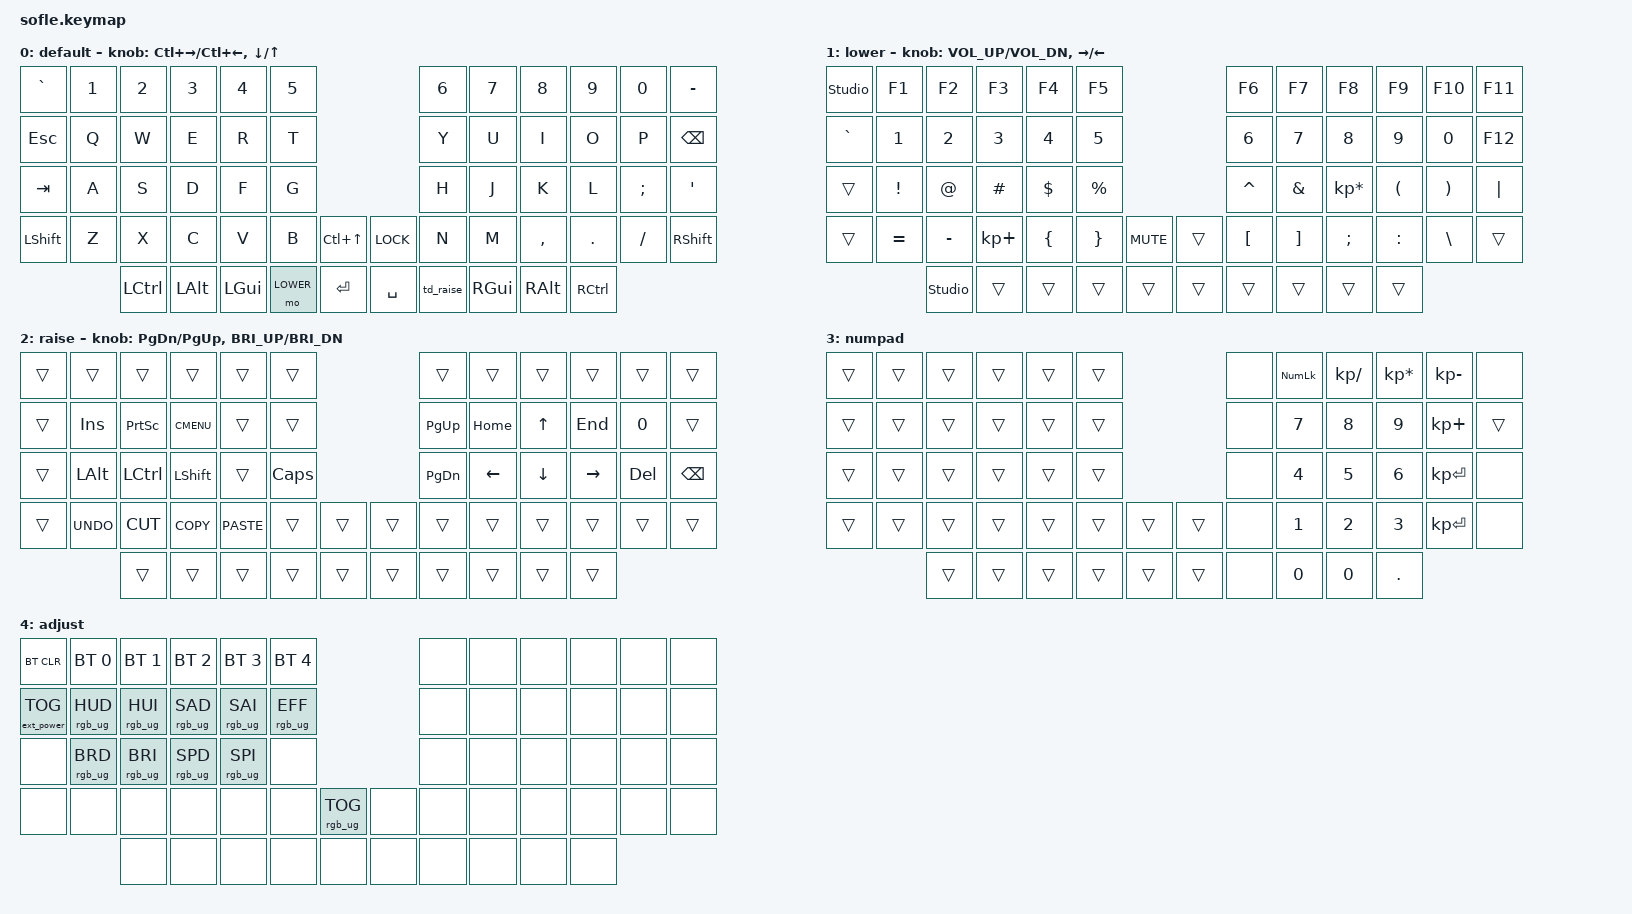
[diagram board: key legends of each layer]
/*
 * Copyright (c) 2020 The ZMK Contributors
 *
 * SPDX-License-Identifier: MIT
 */

#include <behaviors.dtsi>
#include <dt-bindings/zmk/bt.h>
#include <dt-bindings/zmk/ext_power.h>
#include <dt-bindings/zmk/keys.h>
#include <dt-bindings/zmk/rgb.h>

#define BASE 0
#define LOWER 1
#define RAISE 2
#define NUMPADL 3
#define ADJUST 4

/ {
    // Activate ADJUST layer by pressing raise and lower

    conditional_layers {
        compatible = "zmk,conditional-layers";

        adjust_layer {
            if-layers = <LOWER RAISE>;
            then-layer = <ADJUST>;
        };
    };
    
    behaviors {
        td_raise: tap_dance_raise {
            compatible = "zmk,behavior-tap-dance";
            #binding-cells = <0>;
            tapping-term-ms = <200>;
            bindings = <&mo RAISE>, <&mo NUMPADL>;
        };
    };

    keymap {
        compatible = "zmk,keymap";

        default_layer {
            label = "default";

            bindings = <
&kp GRAVE  &kp N1  &kp N2    &kp N3    &kp N4     &kp N5                              &kp N6     &kp N7     &kp N8     &kp N9    &kp N0    &kp MINUS
&kp ESC    &kp Q   &kp W     &kp E     &kp R      &kp T                               &kp Y      &kp U      &kp I      &kp O     &kp P     &kp BSPC
&kp TAB    &kp A   &kp S     &kp D     &kp F      &kp G                               &kp H      &kp J      &kp K      &kp L     &kp SEMI  &kp SQT
&kp LSHFT  &kp Z   &kp X     &kp C     &kp V      &kp B      &kp LC(UP)    &kp K_LOCK &kp N      &kp M      &kp COMMA  &kp DOT   &kp FSLH  &kp RSHFT
                   &kp LCTRL &kp LALT  &kp LGUI   &mo LOWER  &kp RET       &kp SPACE  &td_raise  &kp RGUI   &kp RALT   &kp RCTRL
            >;

            sensor-bindings = <&inc_dec_kp LC(RIGHT) LC(LEFT) &inc_dec_kp DOWN UP>;
        };

        lower_layer {
            label = "lower";

            bindings = <
&studio_unlock     &kp F1     &kp F2     &kp F3       &kp F4    &kp F5                       &kp F6     &kp F7    &kp F8           &kp F9     &kp F10   &kp F11
&kp GRAVE  &kp N1     &kp N2     &kp N3       &kp N4    &kp N5                       &kp N6     &kp N7    &kp N8           &kp N9     &kp N0    &kp F12
&trans     &kp EXCL   &kp AT     &kp HASH     &kp DLLR  &kp PRCNT                    &kp CARET  &kp AMPS  &kp KP_MULTIPLY  &kp LPAR   &kp RPAR  &kp PIPE
&trans     &kp EQUAL  &kp MINUS  &kp KP_PLUS  &kp LBRC  &kp RBRC   &kp C_MUTE    &trans  &kp LBKT   &kp RBKT  &kp SEMI         &kp COLON  &kp BSLH  &trans
                      &studio_unlock     &trans       &trans    &trans     &trans    &trans  &trans     &trans    &trans           &trans
            >;

            sensor-bindings = <&inc_dec_kp C_VOL_UP C_VOL_DN &inc_dec_kp RIGHT LEFT>;
        };

        raise_layer {
            label = "raise";

            // ------------------------------------------------------------------------------------------------------------
            // | BTCLR | BT1  | BT2  |  BT3  |  BT4  |  BT5 |                |      |      |       |      |       |       |
            // |       | INS  | PSCR | GUI   |       |      |                | PGUP |      |   ^   |      |       |       |
            // |       | ALT  | CTRL | SHIFT |       | CAPS |                | PGDN |   <- |   v   |  ->  |  DEL  | BKSPC |
            // |       | UNDO | CUT  | COPY  | PASTE |      |      |  |      |      |      |       |      |       |       |
            //                |      |       |       |      |      |  |      |      |      |       |      |

            bindings = <
&trans      &trans        &trans        &trans        &trans        &trans                          &trans     &trans    &trans    &trans     &trans   &trans
&trans      &kp INS       &kp PSCRN     &kp K_CMENU   &trans        &trans                          &kp PG_UP  &kp HOME  &kp UP    &kp END    &kp N0   &trans
&trans      &kp LALT      &kp LCTRL     &kp LSHFT     &trans        &kp CLCK                        &kp PG_DN  &kp LEFT  &kp DOWN  &kp RIGHT  &kp DEL  &kp BSPC
&trans      &kp K_UNDO    &kp K_CUT     &kp K_COPY    &kp K_PASTE   &trans        &trans    &trans  &trans     &trans    &trans    &trans     &trans   &trans
                          &trans        &trans        &trans        &trans        &trans    &trans  &trans     &trans    &trans    &trans
            >;

            sensor-bindings = <&inc_dec_kp PG_DN PG_UP &inc_dec_kp C_BRI_UP C_BRI_DN>;
        };

        num_layer {
            label = "numpad";
            bindings = <
            &trans  &trans  &trans  &trans  &trans  &trans                  &none        &kp KP_NLCK  &kp KP_DIVIDE  &kp KP_MULTIPLY   &kp KP_MINUS  &none
            &trans  &trans  &trans  &trans  &trans  &trans                  &none        &kp N7         &kp N8           &kp N9        &kp KP_PLUS   &trans
            &trans  &trans  &trans  &trans  &trans  &trans                  &none        &kp N4         &kp N5           &kp N6        &kp KP_ENTER  &none
            &trans  &trans  &trans  &trans  &trans  &trans  &trans  &trans  &none        &kp N1         &kp N2           &kp N3        &kp KP_ENTER  &none
                            &trans  &trans  &trans  &trans  &trans  &trans  &none        &kp N0         &kp N0           &kp DOT
            >;
        };

        adjust_layer {
            // ----------------------------------------------------------------------------------------------------------------------------
            // | BTCLR  |  BT1    |  BT2    |   BT3   |   BT4   |   BT5   |                  |      |      |       |      |       |       |
            // | EXTPWR | RGB_HUD | RGB_HUI | RGB_SAD | RGB_SAI | RGB_EFF |                  |      |      |       |      |       |       |
            // |        | RGB_BRD | RGB_BRI |         |         |         |                  |      |      |       |      |       |       |
            // |        |         |         |         |         |         | RGB_TOG | |      |      |      |       |      |       |       |
            //                    |         |         |         |         |         | |      |      |      |       |      |

            label = "adjust";
            bindings = <
&bt BT_CLR         &bt BT_SEL 0     &bt BT_SEL 1     &bt BT_SEL 2     &bt BT_SEL 3     &bt BT_SEL 4                               &none  &none  &none  &none  &none  &none
&ext_power EP_TOG  &rgb_ug RGB_HUD  &rgb_ug RGB_HUI  &rgb_ug RGB_SAD  &rgb_ug RGB_SAI  &rgb_ug RGB_EFF                            &none  &none  &none  &none  &none  &none
&none              &rgb_ug RGB_BRD  &rgb_ug RGB_BRI  &rgb_ug RGB_SPD  &rgb_ug RGB_SPI  &none                                      &none  &none  &none  &none  &none  &none
&none              &none            &none            &none            &none            &none            &rgb_ug RGB_TOG    &none  &none  &none  &none  &none  &none  &none
                                    &none            &none            &none            &none            &none              &none  &none  &none  &none  &none
            >;
        };
    };
};
